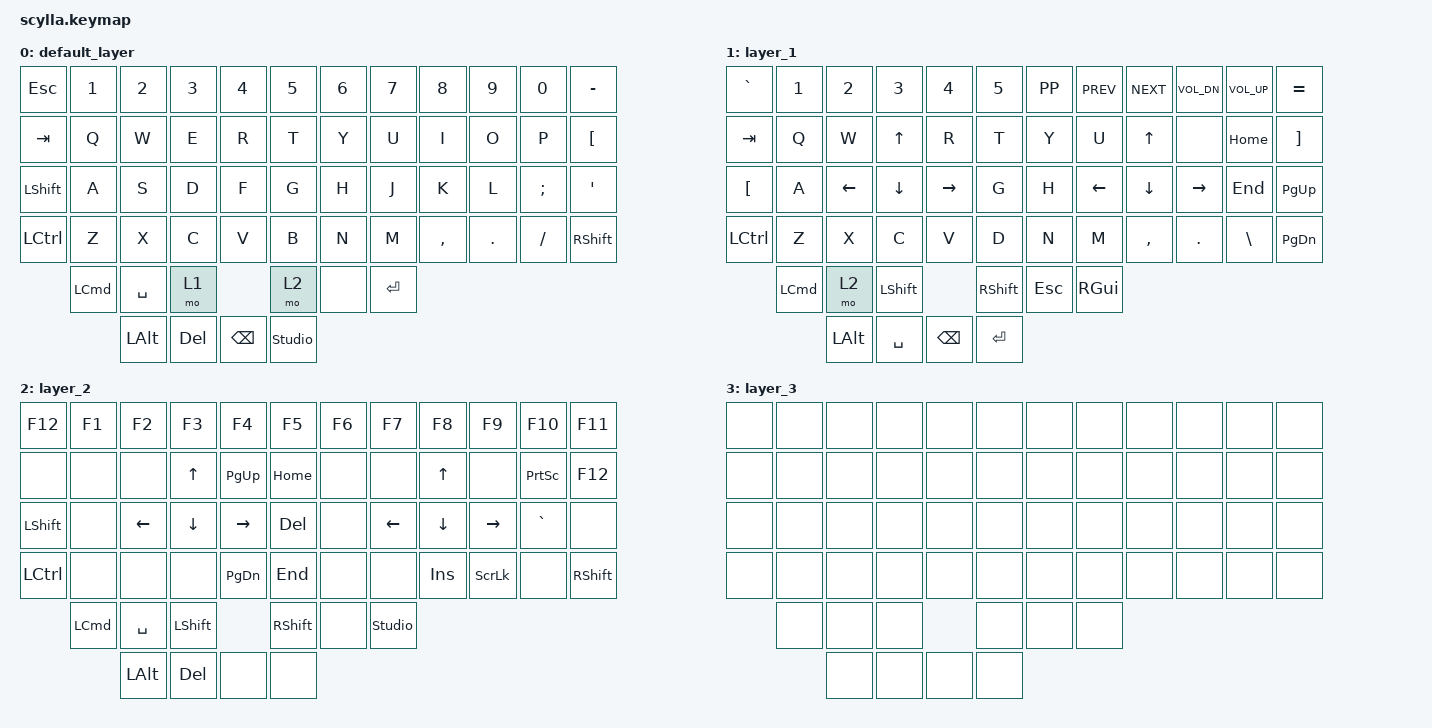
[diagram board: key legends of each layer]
#include <behaviors.dtsi>
#include <dt-bindings/zmk/keys.h>
#include <dt-bindings/zmk/bt.h>

/ {
    keymap { 
        compatible = "zmk,keymap";

        default_layer { // Qwerty layer
            bindings = <
                &kp ESC       &kp N1      &kp N2      &kp N3      &kp N4      &kp N5      &kp N6      &kp N7      &kp N8      &kp N9      &kp N0      &kp MINUS
                &kp TAB       &kp Q       &kp W       &kp E       &kp R       &kp T       &kp Y       &kp U       &kp I       &kp O       &kp P       &kp LBKT
                &kp LSHIFT    &kp A       &kp S       &kp D       &kp F       &kp G       &kp H       &kp J       &kp K       &kp L       &kp SEMI    &kp SINGLE_QUOTE 
                &kp LCTRL     &kp Z       &kp X       &kp C       &kp V       &kp B       &kp N       &kp M       &kp COMMA   &kp DOT     &kp SLASH   &kp RSHIFT
                                  &kp LCMD   &kp SPACE        &mo 1   &mo 2       &none     &kp ENTER 
                                              &kp LALT      &kp DEL   &kp BSPC    &studio_unlock
            >;
        };

        layer_1 { // Media layer
            bindings = <
                &kp GRAVE   &kp N1      &kp N2               &kp N3                      &kp N4                &kp N5      &kp K_PP      &kp K_PREV           &kp K_NEXT         &kp K_VOL_DN      &kp K_VOL_UP      &kp EQUAL
                &kp TAB     &kp Q       &kp W                &kp UP_ARROW                &kp R                 &kp T       &kp Y         &kp U                &kp UP_ARROW       &none             &kp HOME          &kp RBKT
                &kp LBKT    &kp A       &kp LEFT_ARROW       &kp DOWN_ARROW              &kp RIGHT_ARROW       &kp G       &kp H         &kp LEFT_ARROW       &kp DOWN_ARROW     &kp RIGHT_ARROW   &kp END           &kp PG_UP
                &kp LCTRL   &kp Z       &kp X                &kp C                       &kp V                 &kp D       &kp N         &kp M                &kp COMMA          &kp DOT           &kp BACKSLASH     &kp PG_DN
                                &kp LCMD    &mo 2       &kp LSHFT   &kp RSHFT   &kp ESC     &kp RGUI 
                                            &kp LALT    &kp SPACE   &kp BSPC    &kp ENTER
            >;
        };

        layer_2 { // Function and na
            bindings = <
                &kp F12         &kp F1      &kp F2              &kp F3           &kp F4             &kp F5      &kp F6      &kp F7           &kp F8              &kp F9            &kp F10       &kp F11
                &none           &none       &none               &kp UP_ARROW     &kp PG_UP          &kp HOME    &none       &none            &kp UP_ARROW        &none             &kp PSCRN       &kp F12
                &kp LSHIFT      &none       &kp LEFT_ARROW      &kp DOWN_ARROW   &kp RIGHT_ARROW    &kp DEL     &none       &kp LEFT_ARROW   &kp DOWN_ARROW      &kp RIGHT_ARROW   &kp GRAVE     &none
                &kp LCTRL       &none       &none               &none            &kp PG_DN          &kp END     &none       &none            &kp INS             &kp SLCK          &none         &kp RSHIFT
                                &kp LCMD    &kp SPACE           &kp LSHFT        &kp RSHFT          &none    &studio_unlock 
                                                                &kp LALT         &kp DEL            &none    &none
            >;
        };

        layer_3 { // Empty layer
            bindings = <
                &none   &none   &none   &none   &none   &none   &none   &none   &none   &none   &none   &none
                &none   &none   &none   &none   &none   &none   &none   &none   &none   &none   &none   &none
                &none   &none   &none   &none   &none   &none   &none   &none   &none   &none   &none   &none
                &none   &none   &none   &none   &none   &none   &none   &none   &none   &none   &none   &none
                                        &none   &none   &none   &none   &none   &none
                                                &none   &none   &none   &none
            >;
        };
    };
};
